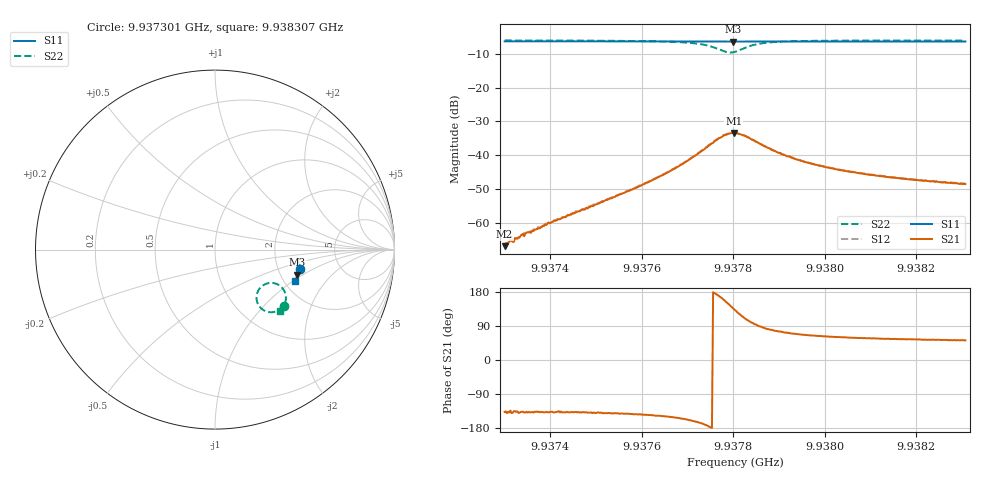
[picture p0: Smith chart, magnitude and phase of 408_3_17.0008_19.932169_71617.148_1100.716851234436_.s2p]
#  HZ  S  RI  R  50.00
! Rohde & Schwarz Vector Network Analyzer
! Rohde-Schwarz,ZNB20-2Port,1311601062101988,3.16
! Created: UTC 3/20/2024, 11:10:20 PM
! freq[Hz]  re:S11  im:S11  re:S21  im:S21  re:S12  im:S12  re:S22  im:S22
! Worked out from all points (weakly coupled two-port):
!   401 points, 9.937301 GHz to 9.938307 GHz, reference 50 ohm
!   highest |S21| = -33.40 dB at 9.937802 GHz (marker M1); lowest = -66.9 dB at 9.937301 GHz (marker M2)
!   lowest |S11| = -6.4 dB at 9.937799 GHz (marker M3), VSWR 2.84, Z = 123 - j44.6 ohm
!   |S11| at or under -10 dB: nowhere
!   |S22| runs from -9.6 to -6.1 dB; largest |S21 - S12| = 0.00089
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9.9373008e9  0.4713 -0.1085  -0.000332 -0.000309  -0.000368 -0.000301  0.3841 -0.3168
9.9373083e9  0.471 -0.109  -0.000374 -0.000352  -0.000383 -0.000317  0.3834 -0.3172
9.9373234e9  0.4708 -0.1101  -0.000423 -0.000423  -0.000414 -0.000418  0.3823 -0.3183
9.9373511e9  0.4703 -0.1118  -0.000548 -0.000485  -0.000537 -0.000479  0.3805 -0.3203
9.9373637e9  0.4699 -0.1128  -0.000571 -0.000502  -0.000586 -0.000542  0.3793 -0.3213
9.9373914e9  0.4693 -0.1146  -0.000683 -0.000633  -0.000715 -0.000666  0.3767 -0.3234
9.9374694e9  0.4676 -0.1196  -0.00116 -0.00103  -0.0012 -0.00103  0.3689 -0.3297
9.9375776e9  0.4652 -0.127  -0.00245 -0.00188  -0.00253 -0.00187  0.3524 -0.34
9.937638e9  0.4638 -0.1311  -0.00405 -0.00261  -0.00412 -0.00256  0.336 -0.3463
9.9376884e9  0.4623 -0.1346  -0.00669 -0.00313  -0.00683 -0.00305  0.312 -0.3493
9.9377387e9  0.4605 -0.1379  -0.0124 -0.00198  -0.0128 -0.00178  0.2659 -0.3343
9.9377764e9  0.4587 -0.1393  -0.0181 0.00581  -0.0182 0.00641  0.2312 -0.2653
9.9377991e9  0.4581 -0.1398  -0.0157 0.0144  -0.0155 0.0151  0.2624 -0.2031
9.9378016e9  0.4581 -0.1399  -0.0149 0.0153  -0.0147 0.0157  0.2694 -0.1983
9.9378041e9  0.4581 -0.14  -0.0142 0.0158  -0.0138 0.0166  0.2766 -0.1942
9.9378293e9  0.4585 -0.1411  -0.00545 0.0181  -0.00508 0.0182  0.3461 -0.1924
9.9378595e9  0.4585 -0.1434  0.000391 0.0146  0.000685 0.0148  0.3854 -0.2289
9.9379123e9  0.4578 -0.1473  0.00304 0.00964  0.00322 0.00958  0.395 -0.2742
9.9379727e9  0.4563 -0.1514  0.0032 0.00673  0.00336 0.00674  0.3896 -0.2991
9.9380457e9  0.4543 -0.1564  0.00296 0.00505  0.00314 0.00506  0.3816 -0.3152
9.9381413e9  0.4519 -0.1626  0.00269 0.00391  0.00277 0.00392  0.373 -0.3282
9.9383074e9  0.4473 -0.1732  0.00233 0.00295  0.00241 0.00298  0.3603 -0.3425
